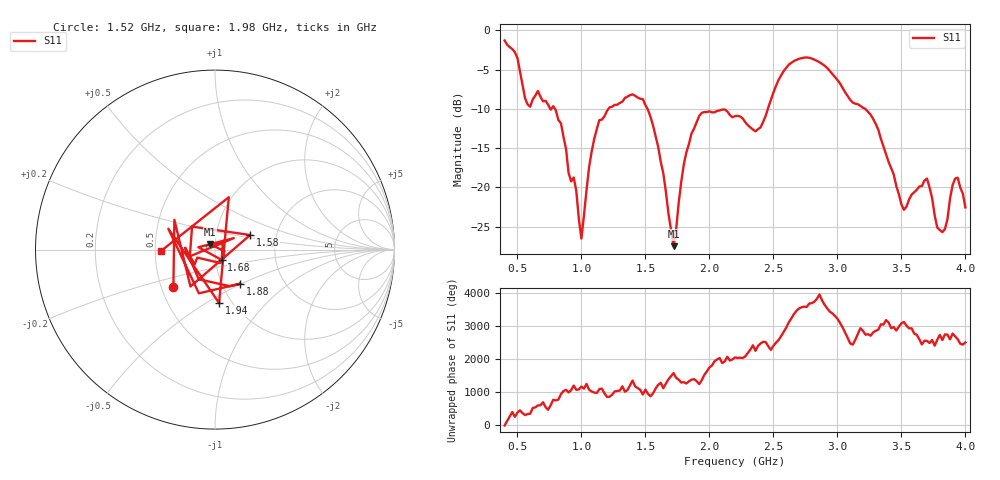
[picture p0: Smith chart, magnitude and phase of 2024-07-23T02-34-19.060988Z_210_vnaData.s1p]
!Created with skrf (http://scikit-rf.org).
# Hz S RI R 50.0
!freq ReS11 ImS11
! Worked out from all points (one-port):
!   181 points, 400 MHz to 4 GHz, reference 50 ohm
!   lowest |S11| = -27.5 dB at 1.72 GHz (marker M1), VSWR 1.09, Z = 47.2 + j2.97 ohm
!   |S11| at or under -10 dB: 793.1 MHz to 1.211 GHz (418.2 MHz wide, 41.7 % of centre); 1.516 GHz to 2.457 GHz (940.5 MHz wide, 47.3 % of centre); 3.217 GHz to end of sweep (the widest 3 of 4)
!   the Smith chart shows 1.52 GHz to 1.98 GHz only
!   S11 on the Smith chart (normalised r, x): 1.52 GHz: 0.58, -0.27; 1.58 GHz: 1.46, +0.25; 1.68 GHz: 1.07, -0.12; 1.88 GHz: 1.22, -0.49; 1.94 GHz: 0.87, -0.57; 1.98 GHz: 0.54, -0.01
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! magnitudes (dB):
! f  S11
! 400 MHz  -1.3
! 580 MHz  -9.4
! 660 MHz  -7.7
! 860 MHz  -13.6
! 960 MHz  -20.4
! 1 GHz  -26.5
! 1.06 GHz  -17.4
! 1.14 GHz  -11.4
! 1.3 GHz  -9.2
! 1.52 GHz  -10.1
! 1.58 GHz  -13.5
! 1.68 GHz  -23.3
! 1.72 GHz  -27.5
! 1.76 GHz  -22.0
! 1.88 GHz  -12.5
! 1.94 GHz  -10.5
! 1.98 GHz  -10.4
! 2.2 GHz  -10.9
! 2.4 GHz  -12.4
! 2.66 GHz  -3.9
! 3.1 GHz  -8.8
! 3.28 GHz  -11.3
! 3.5 GHz  -22.2
! 3.56 GHz  -21.5
! 3.7 GHz  -18.9
! 3.82 GHz  -25.7
! 3.94 GHz  -18.8
! 4 GHz  -22.6
